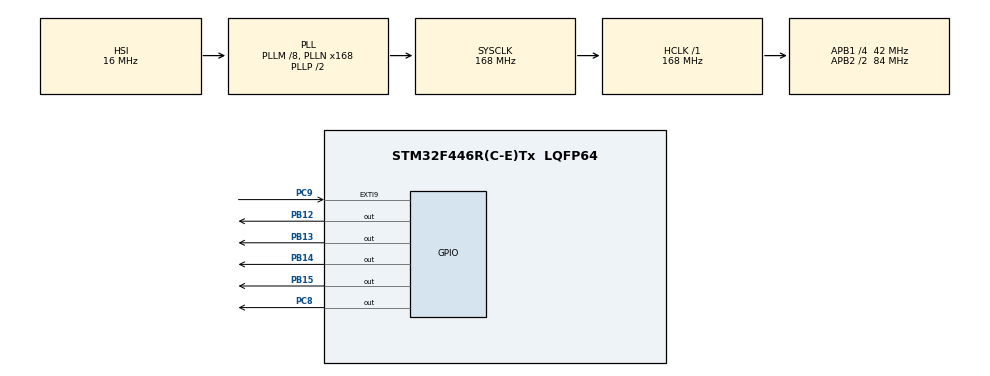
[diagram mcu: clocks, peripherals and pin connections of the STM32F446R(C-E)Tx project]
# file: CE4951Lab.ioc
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Mcu.Family=STM32F4
Mcu.Name=STM32F446R(C-E)Tx
Mcu.Package=LQFP64
NVIC.EXTI9_5_IRQn=true\:1\:0\:true\:false\:true\:true\:true
NVIC.PriorityGroup=NVIC_PRIORITYGROUP_4
NVIC.TIM1_UP_TIM10_IRQn=true\:0\:0\:false\:false\:true\:true\:true
PB12.Signal=GPIO_Output
PB13.Signal=GPIO_Output
PB14.Signal=GPIO_Output
PB15.Signal=GPIO_Output
PC8.GPIO_ModeDefaultOutputPP=GPIO_MODE_OUTPUT_OD
PC8.GPIO_PuPd=GPIO_NOPULL
PC8.Signal=GPIO_Output
PC9.GPIO_ModeDefaultEXTI=GPIO_MODE_IT_RISING_FALLING
PC9.GPIO_PuPd=GPIO_PULLDOWN
PC9.Signal=GPXTI9
ProjectManager.HeapSize=0x200
ProjectManager.StackSize=0x400
ProjectManager.TargetToolchain=STM32CubeIDE
RCC.AHBFreq_Value=168000000
RCC.APB1CLKDivider=RCC_HCLK_DIV4
RCC.APB1Freq_Value=42000000
RCC.APB1TimFreq_Value=84000000
RCC.APB2CLKDivider=RCC_HCLK_DIV2
RCC.APB2Freq_Value=84000000
RCC.APB2TimFreq_Value=168000000
RCC.CortexFreq_Value=168000000
RCC.HCLKFreq_Value=168000000
RCC.PLLM=8
RCC.PLLN=168
RCC.SYSCLKFreq_VALUE=168000000
RCC.SYSCLKSource=RCC_SYSCLKSOURCE_PLLCLK
RCC.USBFreq_Value=168000000
RCC.VCOOutputFreq_Value=336000000
TIM1.Period=2399
TIM1.Prescaler=153
TIM2.Period=550
TIM2.Prescaler=153
TIM2.TIM_MasterOutputTrigger=TIM_TRGO_UPDATE
TIM8.Period=553
TIM8.Prescaler=153
TIM8.TIM_MasterOutputTrigger=TIM_TRGO_UPDATE
VP_TIM1_VS_ClockSourceINT.Mode=Internal
VP_TIM2_VS_ClockSourceINT.Mode=Internal
VP_TIM8_VS_ClockSourceINT.Mode=Internal
board=custom

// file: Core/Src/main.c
/* USER CODE BEGIN Header */
/**
  ******************************************************************************
  * @file           : main.c
  * @brief          : Main program body
  ******************************************************************************
  * @attention
  *
  * <h2><center>&copy; Copyright (c) 2021 STMicroelectronics.
  * All rights reserved.</center></h2>
  *
  * This software component is licensed by ST under BSD 3-Clause license,
  * the "License"; You may not use this file except in compliance with the
  * License. You may obtain a copy of the License at:
  *                        opensource.org/licenses/BSD-3-Clause
  *
  ******************************************************************************
  */
/* USER CODE END Header */
#include "main.h"

/* USER CODE BEGIN Includes */
#include <stdio.h>
#include <stdlib.h>
#include <string.h>
#include "uart_driver.h"
/* USER CODE END Includes */

/* USER CODE BEGIN PTD */
enum state { BUSY, IDLE, COLLISION } currentState;

/* USER CODE END PTD */

/* USER CODE BEGIN PD */
#define USE_HAL_TIM_REGISTER_CALLBACKS 1
#define F_CPU 42000000UL
#define HEADER_LEN 6
#define CRC_POLY 0x07
#define CRCENABLE 0x01
/* USER CODE END PD */

/* USER CODE BEGIN PM */
#define WAIT_MAX_N 128.0
#define BYTE_TO_BINARY_PATTERN "%c%c%c%c%c%c%c%c"
#define BYTE_TO_BINARY(byte)  \
  (byte & 0x80 ? '1' : '0'), \
  (byte & 0x40 ? '1' : '0'), \
  (byte & 0x20 ? '1' : '0'), \
  (byte & 0x10 ? '1' : '0'), \
  (byte & 0x08 ? '1' : '0'), \
  (byte & 0x04 ? '1' : '0'), \
  (byte & 0x02 ? '1' : '0'), \
  (byte & 0x01 ? '1' : '0')

#define MANCHESTER(number) \
	((number & 0b1<<0)? 0b01<<0  : 0b10<<0  )|\
    ((number & 0b1<<1)? 0b01<<2  : 0b10<<2  )|\
    ((number & 0b1<<2)? 0b01<<4  : 0b10<<4  )|\
    ((number & 0b1<<3)? 0b01<<6  : 0b10<<6  )|\
    ((number & 0b1<<4)? 0b01<<8  : 0b10<<8  )|\
    ((number & 0b1<<5)? 0b01<<10 : 0b10<<10 )|\
    ((number & 0b1<<6)? 0b01<<12 : 0b10<<12 )|\
    ((number & 0b1<<7)? 0b01<<14 : 0b10<<14 )\

#define BUSY_S \
		currentState = BUSY; \
		GPIOB->BSRR |= GPIO_PIN_14 | ((uint32_t)(GPIO_PIN_13 | GPIO_PIN_15)<<16UL)
#define IDLE_S \
		currentState = IDLE; \
		GPIOB->BSRR |= GPIO_PIN_15 | ((uint32_t)(GPIO_PIN_13 | GPIO_PIN_14)<<16UL); \
		bitCount = 7; byteCount = 0
#define COLLISION_S \
		currentState = COLLISION; \
		GPIOB->BSRR |= GPIO_PIN_13 | ((uint32_t)(GPIO_PIN_14 | GPIO_PIN_15)<<16UL)

/* USER CODE END PM */

TIM_HandleTypeDef htim1;
TIM_HandleTypeDef htim2;
TIM_HandleTypeDef htim8;

/* USER CODE BEGIN PV */
uint8_t buffer[HEADER_LEN+256+1] ;
uint16_t messageBuffer[HEADER_LEN+256+1];
uint16_t * output = messageBuffer + HEADER_LEN;
uint8_t receiveBuffer[HEADER_LEN+256+1];
unsigned int byteCount = 0;
int bitCount = 7;
static unsigned char const crc8x_table[] = {
		  0x00,0x07,0x0E,0x09,0x1C,0x1B,0x12,0x15,0x38,0x3F,0x36,0x31,0x24,0x23,0x2A,0x2D,
		  0x70,0x77,0x7E,0x79,0x6C,0x6B,0x62,0x65,0x48,0x4F,0x46,0x41,0x54,0x53,0x5A,0x5D,
		  0xE0,0xE7,0xEE,0xE9,0xFC,0xFB,0xF2,0xF5,0xD8,0xDF,0xD6,0xD1,0xC4,0xC3,0xCA,0xCD,
		  0x90,0x97,0x9E,0x99,0x8C,0x8B,0x82,0x85,0xA8,0xAF,0xA6,0xA1,0xB4,0xB3,0xBA,0xBD,
		  0xC7,0xC0,0xC9,0xCE,0xDB,0xDC,0xD5,0xD2,0xFF,0xF8,0xF1,0xF6,0xE3,0xE4,0xED,0xEA,
		  0xB7,0xB0,0xB9,0xBE,0xAB,0xAC,0xA5,0xA2,0x8F,0x88,0x81,0x86,0x93,0x94,0x9D,0x9A,
		  0x27,0x20,0x29,0x2E,0x3B,0x3C,0x35,0x32,0x1F,0x18,0x11,0x16,0x03,0x04,0x0D,0x0A,
		  0x57,0x50,0x59,0x5E,0x4B,0x4C,0x45,0x42,0x6F,0x68,0x61,0x66,0x73,0x74,0x7D,0x7A,
		  0x89,0x8E,0x87,0x80,0x95,0x92,0x9B,0x9C,0xB1,0xB6,0xBF,0xB8,0xAD,0xAA,0xA3,0xA4,
		  0xF9,0xFE,0xF7,0xF0,0xE5,0xE2,0xEB,0xEC,0xC1,0xC6,0xCF,0xC8,0xDD,0xDA,0xD3,0xD4,
		  0x69,0x6E,0x67,0x60,0x75,0x72,0x7B,0x7C,0x51,0x56,0x5F,0x58,0x4D,0x4A,0x43,0x44,
		  0x19,0x1E,0x17,0x10,0x05,0x02,0x0B,0x0C,0x21,0x26,0x2F,0x28,0x3D,0x3A,0x33,0x34,
		  0x4E,0x49,0x40,0x47,0x52,0x55,0x5C,0x5B,0x76,0x71,0x78,0x7F,0x6A,0x6D,0x64,0x63,
		  0x3E,0x39,0x30,0x37,0x22,0x25,0x2C,0x2B,0x06,0x01,0x08,0x0F,0x1A,0x1D,0x14,0x13,
		  0xAE,0xA9,0xA0,0xA7,0xB2,0xB5,0xBC,0xBB,0x96,0x91,0x98,0x9F,0x8A,0x8D,0x84,0x83,
		  0xDE,0xD9,0xD0,0xD7,0xC2,0xC5,0xCC,0xCB,0xE6,0xE1,0xE8,0xEF,0xFA,0xFD,0xF4,0xF3
};

/* USER CODE END PV */

void SystemClock_Config(void);
static void MX_GPIO_Init(void);
static void MX_TIM1_Init(void);
static void MX_TIM8_Init(void);
static void MX_TIM2_Init(void);

/* USER CODE BEGIN 0 */
void HAL_TIM_PeriodElapsedCallback(TIM_HandleTypeDef* htim){
	if (htim->Instance == TIM1){
		if (HAL_GPIO_ReadPin(GPIOC, GPIO_PIN_9) == GPIO_PIN_RESET){
			COLLISION_S;
		}else{
			IDLE_S;
		}
	}
}

void HAL_GPIO_EXTI_Callback(uint16_t GPIO_Pin){
	if (GPIO_Pin == GPIO_PIN_9){

		if(TIM2->SR & TIM_SR_UIF){
			TIM2->CNT = 0;
			TIM2->SR &= ~TIM_SR_UIF;

			uint8_t value = HAL_GPIO_ReadPin(GPIOC, GPIO_PIN_9);
			if (bitCount ==7) {receiveBuffer[byteCount] = 0;}
			receiveBuffer[byteCount] |= value<<bitCount--;

			if(bitCount < 0)
			{
				byteCount++;
				bitCount = 7;
			}
			if(byteCount == HEADER_LEN+256+1)
				byteCount = 0;

			BUSY_S;
			TIM1->CNT = 0;
		}
	}
}

uint8_t crc(uint8_t *data, size_t len)
{
    uint8_t crc = 0;
    size_t i;
    for (i = 0; i < len; i++) {
        crc = crc8x_table[crc ^ data[i]];
    }
    return crc;
}

int sendData(int bytes){
	//send data
	buffer[bytes] = 0;

	//headers

	messageBuffer[0] = MANCHESTER(0x55); //preamble
	messageBuffer[1] = MANCHESTER(0x01); //version
	messageBuffer[2] = MANCHESTER(0x16); //source
	messageBuffer[3] = MANCHESTER(0x15); //destination
	messageBuffer[4] = MANCHESTER(bytes); //length
	messageBuffer[5] = MANCHESTER(CRCENABLE); //crc flag
	if (CRCENABLE)
		messageBuffer[HEADER_LEN+bytes] = MANCHESTER(crc(buffer,bytes)); //crc flag
	else
		messageBuffer[HEADER_LEN+bytes] = MANCHESTER(0xAA); //crc flag
	for (int i = 0; i < bytes;i++){
	  output[i] = MANCHESTER(buffer[i]);
	}

	while (currentState == COLLISION || currentState == BUSY);
	BUSY_S;
	for (int i = 0; i < bytes+HEADER_LEN+1;i++){
		for (int j = 15; j >= 0; j--){
			if (currentState == COLLISION){
				return -1;
			}
			GPIOC->BSRR = (messageBuffer[i] & 1<<j)? GPIO_PIN_8:(uint32_t)GPIO_PIN_8<<16U;
			TIM1->CNT = 0;
			TIM8->SR &= ~TIM_SR_UIF;
			while(!(TIM8->SR & TIM_SR_UIF));
		}
	}

	GPIOC->BSRR |= GPIO_PIN_8;

	return 0;
}

void printMessage(void){
	  printf("\n\nMESSAGE RECIEVED:\n");
	  printf("\tPreamble:\t0x%02x\n",receiveBuffer[0]);
	  printf("\tVersion:\t0x%02x\n",receiveBuffer[1]);
	  printf("\tSource:\t\t0x%02x\n",receiveBuffer[2]);

	  printf("\tDestination:\t0x%02x",receiveBuffer[3]);
	  if (receiveBuffer[3] == 0x16 || receiveBuffer[3] == 0x16)
		  printf(" - accepted\n");
	  else
		  printf(" - rejected\n");

	  printf("\tLength:\t\t0x%02x\n",receiveBuffer[4]);
	  printf("\tCRC Flag:\t0x%02x\n",receiveBuffer[5]);
	  if (receiveBuffer[5] == 1){
		  printf("\tCRC VAL:\t0x%02x",receiveBuffer[byteCount-1]);
		  if (crc(receiveBuffer+HEADER_LEN,receiveBuffer[4]+1) == 0)
			  printf(" - success\n");
		  else
			  printf(" - fail\n");
	  }
	  else {
		  printf("\tCRC VAL:\t0x%02x",receiveBuffer[byteCount-1]);
		  printf(" - ignore\n");
	  }

	  printf("\tMESSAGE:\t");
	  fwrite(receiveBuffer+HEADER_LEN, 1, receiveBuffer[4], stdout);
	  printf("\n\n");
}

/* USER CODE END 0 */

int main(void)
{

  /* MCU Configuration--------------------------------------------------------*/

  /* Reset of all peripherals, Initializes the Flash interface and the Systick. */
  HAL_Init();

  /* Configure the system clock */
  SystemClock_Config();

  /* Initialize all configured peripherals */
  MX_GPIO_Init();
  MX_TIM1_Init();
  MX_TIM8_Init();
  MX_TIM2_Init();
  /* USER CODE BEGIN 2 */
  HAL_TIM_Base_Start_IT(&htim1);
  HAL_TIM_Base_Start_IT(&htim8);
  HAL_TIM_Base_Start_IT(&htim2);
  uart_init(57600,F_CPU);
  int readCount = 0;
  char c;
  /* USER CODE END 2 */

  /* Infinite loop */
  /* USER CODE BEGIN WHILE */
  printf("Hello\n");
  HAL_GPIO_WritePin(GPIOC, GPIO_PIN_8,GPIO_PIN_SET);
  bitCount = 7;
  while (1)
  {

	  //Poll for message
	  if(!uart_isempty())
	  {
		  c = uart_getc();
		  if(c == '\r' || c == '\n'){
			  while (1){
				  if (sendData(readCount) == 0)
					  break;
				  // random value between 0 and WAIT_MAX_N
				  double wait = rand()*(0.9);

				  TIM1->SR &= ~TIM_SR_UIF;
				  TIM1->CNT= (uint32_t)(TIM1->ARR * wait);
				  while(!(TIM1->SR & TIM_SR_UIF));
			  }
			  readCount = 0;
		  }
		  else
			  buffer[readCount++] = c;
	  }

	  //Print received message
	  if(byteCount > HEADER_LEN+receiveBuffer[4])
	  {
		  //while(currentState != BUSY);
		  printMessage();
		  byteCount = 0;
		  bitCount = 7;
	  }

  }
    /* USER CODE END WHILE */

}

void SystemClock_Config(void)
{
  RCC_OscInitTypeDef RCC_OscInitStruct = {0};
  RCC_ClkInitTypeDef RCC_ClkInitStruct = {0};

  /** Configure the main internal regulator output voltage
  */
  __HAL_RCC_PWR_CLK_ENABLE();
  __HAL_PWR_VOLTAGESCALING_CONFIG(PWR_REGULATOR_VOLTAGE_SCALE1);
  /** Initializes the RCC Oscillators according to the specified parameters
  * in the RCC_OscInitTypeDef structure.
  */
  RCC_OscInitStruct.OscillatorType = RCC_OSCILLATORTYPE_HSI;
  RCC_OscInitStruct.HSIState = RCC_HSI_ON;
  RCC_OscInitStruct.HSICalibrationValue = RCC_HSICALIBRATION_DEFAULT;
  RCC_OscInitStruct.PLL.PLLState = RCC_PLL_ON;
  RCC_OscInitStruct.PLL.PLLSource = RCC_PLLSOURCE_HSI;
  RCC_OscInitStruct.PLL.PLLM = 8;
  RCC_OscInitStruct.PLL.PLLN = 168;
  RCC_OscInitStruct.PLL.PLLP = RCC_PLLP_DIV2;
  RCC_OscInitStruct.PLL.PLLQ = 2;
  RCC_OscInitStruct.PLL.PLLR = 2;
  if (HAL_RCC_OscConfig(&RCC_OscInitStruct) != HAL_OK)
  {
    Error_Handler();
  }
  /** Initializes the CPU, AHB and APB buses clocks
  */
  RCC_ClkInitStruct.ClockType = RCC_CLOCKTYPE_HCLK|RCC_CLOCKTYPE_SYSCLK
                              |RCC_CLOCKTYPE_PCLK1|RCC_CLOCKTYPE_PCLK2;
  RCC_ClkInitStruct.SYSCLKSource = RCC_SYSCLKSOURCE_PLLCLK;
  RCC_ClkInitStruct.AHBCLKDivider = RCC_SYSCLK_DIV1;
  RCC_ClkInitStruct.APB1CLKDivider = RCC_HCLK_DIV4;
  RCC_ClkInitStruct.APB2CLKDivider = RCC_HCLK_DIV2;

  if (HAL_RCC_ClockConfig(&RCC_ClkInitStruct, FLASH_LATENCY_5) != HAL_OK)
  {
    Error_Handler();
  }
}

static void MX_TIM1_Init(void)
{

  TIM_ClockConfigTypeDef sClockSourceConfig = {0};
  TIM_MasterConfigTypeDef sMasterConfig = {0};

  htim1.Instance = TIM1;
  htim1.Init.Prescaler = 153;
  htim1.Init.CounterMode = TIM_COUNTERMODE_UP;
  htim1.Init.Period = 2399;
  htim1.Init.ClockDivision = TIM_CLOCKDIVISION_DIV1;
  htim1.Init.RepetitionCounter = 0;
  htim1.Init.AutoReloadPreload = TIM_AUTORELOAD_PRELOAD_DISABLE;
  if (HAL_TIM_Base_Init(&htim1) != HAL_OK)
  {
    Error_Handler();
  }
  sClockSourceConfig.ClockSource = TIM_CLOCKSOURCE_INTERNAL;
  if (HAL_TIM_ConfigClockSource(&htim1, &sClockSourceConfig) != HAL_OK)
  {
    Error_Handler();
  }
  sMasterConfig.MasterOutputTrigger = TIM_TRGO_RESET;
  sMasterConfig.MasterSlaveMode = TIM_MASTERSLAVEMODE_DISABLE;
  if (HAL_TIMEx_MasterConfigSynchronization(&htim1, &sMasterConfig) != HAL_OK)
  {
    Error_Handler();
  }

}

static void MX_TIM2_Init(void)
{

  TIM_ClockConfigTypeDef sClockSourceConfig = {0};
  TIM_MasterConfigTypeDef sMasterConfig = {0};

  htim2.Instance = TIM2;
  htim2.Init.Prescaler = 153;
  htim2.Init.CounterMode = TIM_COUNTERMODE_UP;
  htim2.Init.Period = 550;
  htim2.Init.ClockDivision = TIM_CLOCKDIVISION_DIV1;
  htim2.Init.AutoReloadPreload = TIM_AUTORELOAD_PRELOAD_DISABLE;
  if (HAL_TIM_Base_Init(&htim2) != HAL_OK)
  {
    Error_Handler();
  }
  sClockSourceConfig.ClockSource = TIM_CLOCKSOURCE_INTERNAL;
  if (HAL_TIM_ConfigClockSource(&htim2, &sClockSourceConfig) != HAL_OK)
  {
    Error_Handler();
  }
  sMasterConfig.MasterOutputTrigger = TIM_TRGO_UPDATE;
  sMasterConfig.MasterSlaveMode = TIM_MASTERSLAVEMODE_DISABLE;
  if (HAL_TIMEx_MasterConfigSynchronization(&htim2, &sMasterConfig) != HAL_OK)
  {
    Error_Handler();
  }

}

static void MX_TIM8_Init(void)
{

  TIM_ClockConfigTypeDef sClockSourceConfig = {0};
  TIM_MasterConfigTypeDef sMasterConfig = {0};

  htim8.Instance = TIM8;
  htim8.Init.Prescaler = 153;
  htim8.Init.CounterMode = TIM_COUNTERMODE_UP;
  htim8.Init.Period = 553;
  htim8.Init.ClockDivision = TIM_CLOCKDIVISION_DIV1;
  htim8.Init.RepetitionCounter = 0;
  htim8.Init.AutoReloadPreload = TIM_AUTORELOAD_PRELOAD_DISABLE;
  if (HAL_TIM_Base_Init(&htim8) != HAL_OK)
  {
    Error_Handler();
  }
  sClockSourceConfig.ClockSource = TIM_CLOCKSOURCE_INTERNAL;
  if (HAL_TIM_ConfigClockSource(&htim8, &sClockSourceConfig) != HAL_OK)
  {
    Error_Handler();
  }
  sMasterConfig.MasterOutputTrigger = TIM_TRGO_UPDATE;
  sMasterConfig.MasterSlaveMode = TIM_MASTERSLAVEMODE_DISABLE;
  if (HAL_TIMEx_MasterConfigSynchronization(&htim8, &sMasterConfig) != HAL_OK)
  {
    Error_Handler();
  }

}

static void MX_GPIO_Init(void)
{
  GPIO_InitTypeDef GPIO_InitStruct = {0};

  /* GPIO Ports Clock Enable */
  __HAL_RCC_GPIOB_CLK_ENABLE();
  __HAL_RCC_GPIOC_CLK_ENABLE();

  /*Configure GPIO pin Output Level */
  HAL_GPIO_WritePin(GPIOB, GPIO_PIN_12|GPIO_PIN_13|GPIO_PIN_14|GPIO_PIN_15, GPIO_PIN_RESET);

  /*Configure GPIO pin Output Level */
  HAL_GPIO_WritePin(GPIOC, GPIO_PIN_8, GPIO_PIN_RESET);

  /*Configure GPIO pins : PB12 PB13 PB14 PB15 */
  GPIO_InitStruct.Pin = GPIO_PIN_12|GPIO_PIN_13|GPIO_PIN_14|GPIO_PIN_15;
  GPIO_InitStruct.Mode = GPIO_MODE_OUTPUT_PP;
  GPIO_InitStruct.Pull = GPIO_NOPULL;
  GPIO_InitStruct.Speed = GPIO_SPEED_FREQ_LOW;
  HAL_GPIO_Init(GPIOB, &GPIO_InitStruct);

  /*Configure GPIO pin : PC8 */
  GPIO_InitStruct.Pin = GPIO_PIN_8;
  GPIO_InitStruct.Mode = GPIO_MODE_OUTPUT_OD;
  GPIO_InitStruct.Pull = GPIO_NOPULL;
  GPIO_InitStruct.Speed = GPIO_SPEED_FREQ_LOW;
  HAL_GPIO_Init(GPIOC, &GPIO_InitStruct);

  /*Configure GPIO pin : PC9 */
  GPIO_InitStruct.Pin = GPIO_PIN_9;
  GPIO_InitStruct.Mode = GPIO_MODE_IT_RISING_FALLING;
  GPIO_InitStruct.Pull = GPIO_PULLDOWN;
  HAL_GPIO_Init(GPIOC, &GPIO_InitStruct);

  /* EXTI interrupt init*/
  HAL_NVIC_SetPriority(EXTI9_5_IRQn, 1, 0);
  HAL_NVIC_EnableIRQ(EXTI9_5_IRQn);

}

void Error_Handler(void)
{
  __disable_irq();
  while (1)
  {
  }
}

/************************ (C) COPYRIGHT STMicroelectronics *****END OF FILE****/
